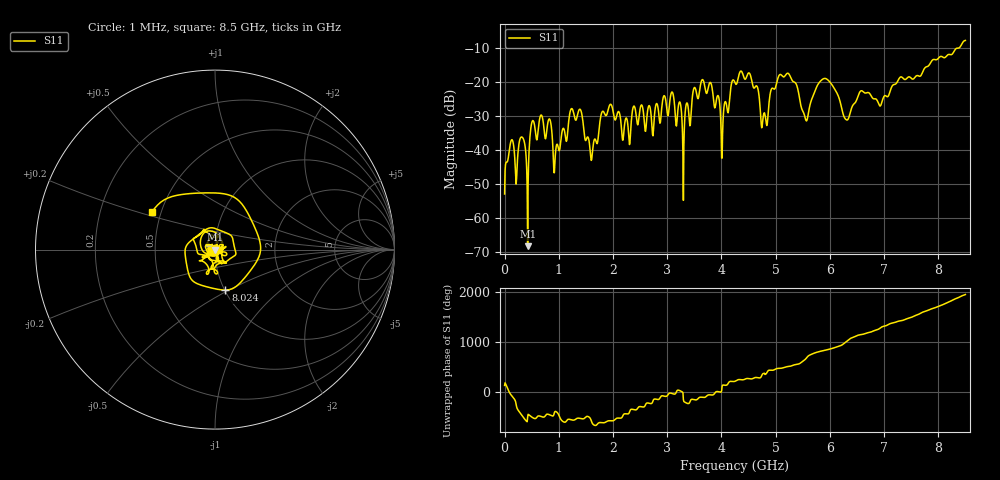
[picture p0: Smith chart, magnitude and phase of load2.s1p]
# Hz S RI R 50
! CMT, S5085, 16077402, 21.3.2/1
! Date: 11/17/2021 5:18:16 PM
! Data: Format (Calibration Info)
! Freq	S22:Re/Im(--)
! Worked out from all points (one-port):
!   1001 points, 1 MHz to 8.5 GHz, reference 50 ohm
!   lowest |S11| = -68.4 dB at 425.9 MHz (marker M1), VSWR 1.00, Z = 50 - j0.0274 ohm
!   |S11| at or under -10 dB: start of sweep to 8.377 GHz
!   S11 on the Smith chart (normalised r, x): 1 MHz: 1.00, +0.00; 8.024 GHz: 1.01, -0.48; 8.5 GHz: 0.45, +0.22
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1000000  -0.00164 0.00151
1.28485e8  0.00628 -0.0125
3.32461e8  -0.00689 -0.0134
4.2595e8  -0.000262 -0.000274
5.19439e8  -0.0221 -0.0154
8.33902e8  0.000411 -0.0281
9.3589e8  0.00777 -0.00281
1.063375e9  -0.0165 0.00943
1.386337e9  -0.0366 -0.0151
1.607311e9  -0.00469 0.00544
1.811287e9  -0.015 0.0338
2.12575e9  -0.0301 -0.0142
3.188125e9  0.0243 0.0207
3.307111e9  -0.0112 0.000459
3.65557e9  -0.0202 -0.1061
4.021027e9  -0.0134 0.0104
4.2505e9  -0.074 -0.0631
4.522468e9  0.00116 -0.1326
4.777438e9  0.0315 0.00962
5.066404e9  -0.0594 0.111
5.312875e9  -0.1029 0.00696
5.550847e9  0.0151 -0.024
5.899306e9  -0.0501 0.1008
6.37525e9  0.0347 -0.0048
7.437625e9  0.0983 0.0631
8.024056e9  0.0578 -0.2257
8.236531e9  0.2323 0.0981
8.5e9  -0.3509 0.2094
